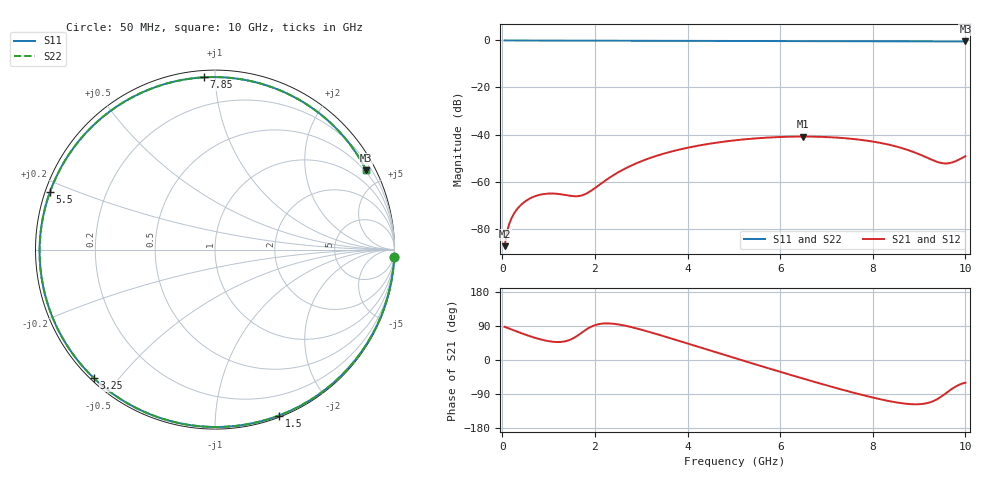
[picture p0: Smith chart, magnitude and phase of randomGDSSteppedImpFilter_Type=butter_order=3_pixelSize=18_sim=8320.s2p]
! freq	dB(S11)	phase(S11)	dB(S12)	phase(S12)
!  dB(S21)	phase(S21)	dB(S22)	phase(S22)
!S-par simulation data
#  GHz  S  DB  R 50
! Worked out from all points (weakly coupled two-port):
!   200 points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, 50 MHz to 10 GHz, reference 50 ohm
!   highest |S21| = -40.86 dB at 6.5 GHz (marker M1); lowest = -87.5 dB at 50 MHz (marker M2)
!   lowest |S11| = -0.4 dB at 10 GHz (marker M3), VSWR 40.13, Z = 21.5 + j200 ohm
!   |S11| at or under -10 dB: nowhere
!   |S22| runs from -0.4 to 0.0 dB; largest |S21 - S12| = 0
!   S11 on the Smith chart (normalised r, x): 50 MHz: 0, -47; 1.5 GHz: 0.01, -1.46; 3.25 GHz: 0.01, -0.43; 5.5 GHz: 0.01, +0.17; 7.85 GHz: 0.04, +0.94; 10 GHz: 0.43, +4.01
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0.05  -0.00 -2.4  -87.47 87.6  -87.47 87.6  -0.00 -2.4
0.1  -0.01 -4.9  -81.48 85.2  -81.48 85.2  -0.01 -4.9
0.25  -0.02 -12.1  -73.70 78.2  -73.70 78.2  -0.02 -12.1
0.35  -0.02 -16.9  -71.00 73.6  -71.00 73.6  -0.02 -16.9
0.6  -0.04 -28.7  -67.15 62.6  -67.15 62.6  -0.04 -28.7
1  -0.06 -47.1  -65.10 49.7  -65.10 49.7  -0.06 -47.1
1.5  -0.08 -69.0  -66.14 55.4  -66.14 55.4  -0.08 -68.9
1.75  -0.09 -79.3  -65.68 75.1  -65.68 75.1  -0.09 -79.3
2.45  -0.12 -106.1  -56.68 94.9  -56.68 94.9  -0.12 -106.0
3.25  -0.14 -133.4  -49.58 71.4  -49.58 71.4  -0.14 -133.3
3.4  -0.15 -138.2  -48.63 66.0  -48.63 66.0  -0.15 -138.1
4.2  -0.17 -162.4  -44.84 36.0  -44.84 36.0  -0.17 -162.4
5.05  -0.21 173.3  -42.40 4.0  -42.40 4.0  -0.21 173.3
5.5  -0.23 160.7  -41.60 -12.8  -41.60 -12.8  -0.23 160.8
6.5  -0.28 132.8  -40.86 -49.2  -40.86 -49.2  -0.28 132.8
6.7  -0.29 127.1  -40.90 -56.3  -40.90 -56.3  -0.29 127.1
7.85  -0.34 93.7  -42.54 -94.6  -42.54 -94.6  -0.34 93.7
8.35  -0.36 78.6  -44.32 -108.4  -44.32 -108.4  -0.36 78.7
8.9  -0.38 61.8  -47.59 -116.9  -47.59 -116.9  -0.38 61.8
9.5  -0.40 43.2  -52.18 -94.9  -52.18 -94.9  -0.40 43.2
9.7  -0.41 37.0  -51.94 -76.9  -51.94 -76.9  -0.41 37.0
10  -0.43 27.7  -49.24 -59.9  -49.24 -59.9  -0.43 27.8
